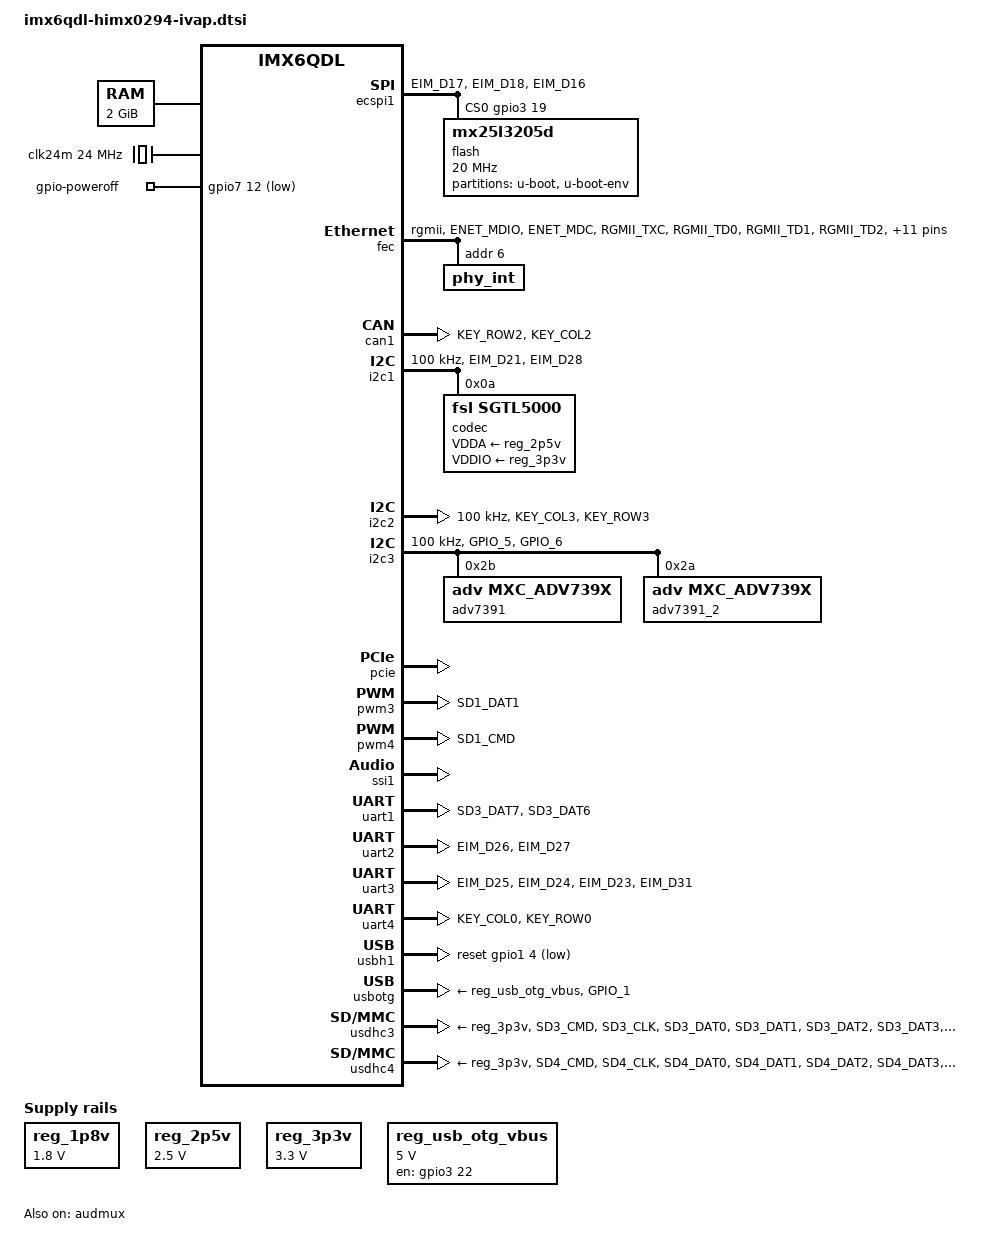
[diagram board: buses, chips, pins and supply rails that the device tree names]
/*
 * Copyright 2015 DResearch Fahrzeugelektronik GmbH
 * Copyright 2013 Boundary Devices
 * Copyright 2012 Freescale Semiconductor, Inc.
 * Copyright 2011 Linaro Ltd.
 *
 * The code contained herein is licensed under the GNU General Public
 * License. You may obtain a copy of the GNU General Public License
 * Version 2 or later at the following locations:
 *
 * http://www.opensource.org/licenses/gpl-license.html
 * http://www.gnu.org/copyleft/gpl.html
 */
#include <dt-bindings/input/input.h>
#include <dt-bindings/gpio/gpio.h>

/ {
	aliases {
		mxcfb0 = &mxcfb1;
		mxcfb1 = &mxcfb2;
		mxcfb2 = &mxcfb3;
		mxcfb3 = &mxcfb4;
		ethernet0 = &fec;
	};

	memory {
		reg = <0x10000000 0x80000000>;
	};

	reserved-memory {
		#address-cells = <1>;
		#size-cells = <1>;
		ranges;

		linux,cma {
			compatible = "shared-dma-pool";
			reusable;
			size = <0x3a000000>;
			linux,cma-default;
		};
	};

	clocks {
		clk24m: clk24m {
			compatible = "fixed-clock";
			#clock-cells = <0>;
			clock-frequency = <24000000>;
		};
	};

	regulators {
		compatible = "simple-bus";

		reg_1p8v: 1p8v {
			compatible = "regulator-fixed";
			regulator-name = "1P8V";
			regulator-min-microvolt = <1800000>;
			regulator-max-microvolt = <1800000>;
			regulator-always-on;
		};

		reg_2p5v: 2p5v {
			compatible = "regulator-fixed";
			regulator-name = "2P5V";
			regulator-min-microvolt = <2500000>;
			regulator-max-microvolt = <2500000>;
			regulator-always-on;
		};

		reg_3p3v: 3p3v {
			compatible = "regulator-fixed";
			regulator-name = "3P3V";
			regulator-min-microvolt = <3300000>;
			regulator-max-microvolt = <3300000>;
			regulator-always-on;
		};

		reg_usb_otg_vbus: usb_otg_vbus {
			compatible = "regulator-fixed";
			regulator-name = "usb_otg_vbus";
			regulator-min-microvolt = <5000000>;
			regulator-max-microvolt = <5000000>;
			gpio = <&gpio3 22 0>;
			enable-active-high;
		};
	};

	mxcfb1: fb@0 {
		compatible = "fsl,mxc_sdc_fb";
		disp_dev = "adv739x";
		interface_pix_fmt = "BT656";
		mode_str ="BT656-PAL";
		default_bpp = <32>;
		int_clk = <0>;
		late_init = <0>;
		status = "disabled";
	};

	mxcfb2: fb@1 {
		compatible = "fsl,mxc_sdc_fb";
		disp_dev = "adv739x";
		interface_pix_fmt = "BT656";
		mode_str ="BT656-PAL";
		default_bpp = <32>;
		int_clk = <0>;
		late_init = <0>;
		status = "disabled";
	};

	mxcfb3: fb@2 {
		compatible = "fsl,mxc_sdc_fb";
		disp_dev = "lcd";
		interface_pix_fmt = "RGB565";
		mode_str ="CLAA-WVGA";
		default_bpp = <16>;
		int_clk = <0>;
		late_init = <0>;
		status = "disabled";
	};

	mxcfb4: fb@3 {
		compatible = "fsl,mxc_sdc_fb";
		disp_dev = "ldb";
		interface_pix_fmt = "RGB666";
		mode_str ="LDB-XGA";
		default_bpp = <16>;
		int_clk = <0>;
		late_init = <0>;
		status = "disabled";
	};

#if 0
	backlight_lvds {
		compatible = "pwm-backlight";
		pwms = <&pwm4 0 5000000>;
		brightness-levels = <0 4 8 16 32 64 128 255>;
		default-brightness-level = <7>;
	};
#endif

	v4l2_out {
		compatible = "fsl,mxc_v4l2_output";
		status = "okay";
	};

	gpio-poweroff {
		compatible = "gpio-poweroff";
		gpios = <&gpio7 12 GPIO_ACTIVE_LOW>;
	};

	sound {
		compatible = "fsl,imx6q-sabrelite-sgtl5000",
			     "fsl,imx-audio-sgtl5000";
		model = "imx6q-sabrelite-sgtl5000";
		ssi-controller = <&ssi1>;
		audio-codec = <&codec>;
		audio-routing =
			"MIC_IN", "Mic Jack",
			"Mic Jack", "Mic Bias",
			"Headphone Jack", "HP_OUT";
		mux-int-port = <1>;
		mux-ext-port = <4>;
	};
};

&audmux {
	status = "okay";
	pinctrl-names = "default";
	pinctrl-0 = <&pinctrl_audmux>;
};

&ecspi1 {
	fsl,spi-num-chipselects = <1>;
	cs-gpios = <&gpio3 19 0>;
	pinctrl-names = "default";
	pinctrl-0 = <&pinctrl_ecspi1>;
	status = "okay";

	flash: m25p32@0 {
		compatible = "mx25l3205d";
		spi-max-frequency = <20000000>;
		reg = <0>;
		#address-cells = <1>;
		#size-cells = <1>;
		partition@0 {
			label = "u-boot";
			reg = <0x0 0x3E0000>;
		};
		partition@3E0000 {
			label = "u-boot-env";
			reg = <0x3E0000 0x20000>;
		};
	};
};

&fec {
	pinctrl-names = "default";
	pinctrl-0 = <&pinctrl_enet>;
	phy-mode = "rgmii";
	direct-switch;
#if 0
#define GP_ENET_PHY_RESET	<&gpio1 25 GPIO_ACTIVE_LOW>
	phy-reset-gpios = GP_ENET_PHY_RESET;
#endif
	status = "okay";

	#address-cells = <0>;
	#size-cells = <1>;
	phy_int {
		reg = <0x6>;
#define GPIRQ_ENET_PHY		<&gpio1 28 IRQ_TYPE_LEVEL_LOW>
		interrupts-extended = GPIRQ_ENET_PHY;
	};
};

&can1 {
	pinctrl-names = "default";
	pinctrl-0 = <&pinctrl_flexcan1>;
	status = "okay";
};

#if 0
&hdmi_audio {
	status = "okay";
};

&hdmi_core {
	ipu_id = <1>;
	disp_id = <0>;
	status = "okay";
};

&hdmi_video {
	fsl,phy_reg_vlev = <0x0294>;
	fsl,phy_reg_cksymtx = <0x800d>;
	status = "okay";
};
#endif

&i2c1 {
	clock-frequency = <100000>;
	pinctrl-names = "default";
	pinctrl-0 = <&pinctrl_i2c1>;
	status = "okay";

	codec: sgtl5000@0a {
		compatible = "fsl,sgtl5000";
		pinctrl-names = "default";
		pinctrl-0 = <&pinctrl_i2c1_sgtl5000>;
		reg = <0x0a>;
		clocks = <&clks 201>;
		VDDA-supply = <&reg_2p5v>;
		VDDIO-supply = <&reg_3p3v>;
	};
};

&i2c2 {
	clock-frequency = <100000>;
	pinctrl-names = "default";
	pinctrl-0 = <&pinctrl_i2c2>;
	status = "okay";

};

&i2c3 {
        clock-frequency = <100000>;
        pinctrl-names = "default";
        pinctrl-0 = <&pinctrl_i2c3_5>;
        status = "okay";

	adv7391: adv7391@2b {
		compatible = "adv,mxc_adv739x";
		reg = <0x2b>;
		pinctrl-names = "default", "enable";
		pinctrl-0 = <&pinctrl_adv7391_off>;
		pinctrl-1 = <&pinctrl_adv7391>;
#if 0
		rst-gpios = GP_ADV7391_RESET;
#endif
		ipu_id = <0>;
		disp_id = <1>;
        };

	adv7391_2: adv7391@2a {
		compatible = "adv,mxc_adv739x";
		reg = <0x2a>;
		pinctrl-names = "default", "enable";
		pinctrl-0 = <&pinctrl_adv7391_off_2>;
		pinctrl-1 = <&pinctrl_adv7391_2>;
#if 0
		rst-gpios = GP_ADV7391_RESET;
#endif
		ipu_id = <1>;
		disp_id = <0>;
        };
};

&iomuxc {
	pinctrl-names = "default";
	pinctrl-0 = <&pinctrl_hog_1>;

	i2c3 {
		pinctrl_i2c3_5: i2c3grp-5 {
			fsl,pins = <
				MX6QDL_PAD_GPIO_5__I2C3_SCL  0x4001b8b1
				MX6QDL_PAD_GPIO_6__I2C3_SDA  0x4001b8b1
			>;
		};
	};

	imx6q-nitrogen6x {
		pinctrl_hog_1: hoggrp-1 {
			fsl,pins = <
		/*		MX6QDL_PAD_GPIO_0__CCM_CLKO1		0x130b0	*/	/* AUD_MCK */
				MX6QDL_PAD_GPIO_2__GPIO1_IO02		0x0b868		/* LTE_ON_OFF */
				MX6QDL_PAD_GPIO_3__XTALOSC_REF_CLK_24M	0x00068		/* USB 24MHz CLK */
		/*		MX6QDL_PAD_GPIO_4__GPIO1_IO04		0x80000000 */	/* /RST_USB_HUB */
		/*		MX6QDL_PAD_GPIO_8__GPIO1_IO08		0x000b0	*/	/* BYP_SEL[0] */
		/*		MX6QDL_PAD_GPIO_9__GPIO1_IO09		0x80000000 */	/* BYP_SEL[1] */
		/*		MX6QDL_PAD_GPIO_16__GPIO7_IO11		0x80000000 */	/* BYP_SEL[2] */
		/*		MX6QDL_PAD_GPIO_17__GPIO7_IO12		0x0b0b0	*/	/* HOST_RUNNING */
                                MX6QDL_PAD_GPIO_18__GPIO7_IO13          0x1b0b0		/* ADV_BYP[0] */
                                MX6QDL_PAD_GPIO_19__GPIO4_IO05          0x1b0b0		/* ADV_BYP[1] */
				MX6QDL_PAD_EIM_D19__GPIO3_IO19		0x80000000	/* spi-nor CS */
		/*		MX6QDL_PAD_ENET_TX_EN__GPIO1_IO28	0x1b0b0	*/	/* /ETH_INT */
				MX6QDL_PAD_SD3_DAT5__GPIO7_IO00		0x80000000	/* USDHC3 CD */
				MX6QDL_PAD_SD3_DAT4__GPIO7_IO01		0x1f0b0		/* /SD3_WP*/
		/*		MX6QDL_PAD_SD4_DAT4__GPIO2_IO12		0x1b0b0	*/	/* HDD_USABLE */
		/*		MX6QDL_PAD_SD4_DAT5__GPIO2_IO13		0x1b0b0	*/	/* WLAN_ON */
				MX6QDL_PAD_NANDF_D6__GPIO2_IO06		0x80000000	/* uSDHC4 CD */
				MX6QDL_PAD_NANDF_D7__GPIO2_IO07		0x80000000	/* /SD4_WP */
			>;
		};

		pinctrl_i2c1_sgtl5000: i2c1-sgtl5000grp {
			fsl,pins = <
				MX6QDL_PAD_GPIO_0__CCM_CLKO1		0x000b0		/* sys_mclk */
			>;
		};

		pinctrl_audmux: audmuxgrp {
			fsl,pins = <
				MX6QDL_PAD_SD2_DAT0__AUD4_RXD		0x130b0
				MX6QDL_PAD_SD2_DAT3__AUD4_TXC		0x130b0
				MX6QDL_PAD_SD2_DAT2__AUD4_TXD		0x110b0
				MX6QDL_PAD_SD2_DAT1__AUD4_TXFS		0x130b0
			>;
		};

		pinctrl_ecspi1: ecspi1grp {
			fsl,pins = <
				MX6QDL_PAD_EIM_D17__ECSPI1_MISO		0x100b1
				MX6QDL_PAD_EIM_D18__ECSPI1_MOSI		0x100b1
				MX6QDL_PAD_EIM_D16__ECSPI1_SCLK		0x100b1
			>;
		};

		pinctrl_flexcan1: flexcan1grp {
			fsl,pins = <
				MX6QDL_PAD_KEY_ROW2__FLEXCAN1_RX	0x80000000
				MX6QDL_PAD_KEY_COL2__FLEXCAN1_TX	0x80000000
			>;
		};

		pinctrl_usbotg: usbotggrp {
			fsl,pins = <
				MX6QDL_PAD_GPIO_1__USB_OTG_ID 0x17059
			>;
		};

		pinctrl_enet: enetgrp {
			fsl,pins = <
				MX6QDL_PAD_ENET_MDIO__ENET_MDIO		0x1b0b0
				MX6QDL_PAD_ENET_MDC__ENET_MDC		0x1b0b0
				MX6QDL_PAD_RGMII_TXC__RGMII_TXC		0x1b0b0
				MX6QDL_PAD_RGMII_TD0__RGMII_TD0		0x1b0b0
				MX6QDL_PAD_RGMII_TD1__RGMII_TD1		0x1b0b0
				MX6QDL_PAD_RGMII_TD2__RGMII_TD2		0x1b0b0
				MX6QDL_PAD_RGMII_TD3__RGMII_TD3		0x1b0b0
				MX6QDL_PAD_RGMII_TX_CTL__RGMII_TX_CTL	0x1b0b0
				MX6QDL_PAD_ENET_REF_CLK__ENET_TX_CLK	0x1b0b0
				MX6QDL_PAD_RGMII_RXC__RGMII_RXC		0x1b0b0
				MX6QDL_PAD_RGMII_RD0__RGMII_RD0		0x1b0b0
				MX6QDL_PAD_RGMII_RD1__RGMII_RD1		0x1b0b0
				MX6QDL_PAD_RGMII_RD2__RGMII_RD2		0x1b0b0
				MX6QDL_PAD_RGMII_RD3__RGMII_RD3		0x1b0b0
				MX6QDL_PAD_RGMII_RX_CTL__RGMII_RX_CTL	0x1b0b0
				MX6QDL_PAD_ENET_CRS_DV__GPIO1_IO25	0x0f0b0		/* ethernet phy reset */
				MX6QDL_PAD_ENET_TX_EN__GPIO1_IO28	0x1b0b0		/* ethernet phy interrupt */
			>;
		};

		pinctrl_usdhc3: usdhc3grp {
			fsl,pins = <
				MX6QDL_PAD_SD3_CMD__SD3_CMD		0x17059
				MX6QDL_PAD_SD3_CLK__SD3_CLK		0x10059
				MX6QDL_PAD_SD3_DAT0__SD3_DATA0		0x17059
				MX6QDL_PAD_SD3_DAT1__SD3_DATA1		0x17059
				MX6QDL_PAD_SD3_DAT2__SD3_DATA2		0x17059
				MX6QDL_PAD_SD3_DAT3__SD3_DATA3		0x17059
			>;
		};

		pinctrl_usdhc4: usdhc4grp {
			fsl,pins = <
				MX6QDL_PAD_SD4_CMD__SD4_CMD		0x17059
				MX6QDL_PAD_SD4_CLK__SD4_CLK		0x10059
				MX6QDL_PAD_SD4_DAT0__SD4_DATA0		0x17059
				MX6QDL_PAD_SD4_DAT1__SD4_DATA1		0x17059
				MX6QDL_PAD_SD4_DAT2__SD4_DATA2		0x17059
				MX6QDL_PAD_SD4_DAT3__SD4_DATA3		0x17059
			>;
		};

		pinctrl_i2c1: i2c1grp {
			fsl,pins = <
				MX6QDL_PAD_EIM_D21__I2C1_SCL  0x4001b8b1
				MX6QDL_PAD_EIM_D28__I2C1_SDA  0x4001b8b1
			>;
		};

		pinctrl_i2c2: i2c2grp {
			fsl,pins = <
				MX6QDL_PAD_KEY_COL3__I2C2_SCL 0x4001b8b1
				MX6QDL_PAD_KEY_ROW3__I2C2_SDA 0x4001b8b1
			>;
		};

		pinctrl_adv7391: adv7391grp-1 {
			fsl,pins = <
				MX6QDL_PAD_EIM_A16__IPU1_DI1_DISP_CLK 0x10		/* Pixclk */
				MX6QDL_PAD_EIM_A17__IPU1_DISP1_DATA12  0x10
				MX6QDL_PAD_EIM_A18__IPU1_DISP1_DATA13  0x10
				MX6QDL_PAD_EIM_A19__IPU1_DISP1_DATA14  0x10
				MX6QDL_PAD_EIM_A20__IPU1_DISP1_DATA15  0x10
				MX6QDL_PAD_EIM_A21__IPU1_DISP1_DATA16  0x10
				MX6QDL_PAD_EIM_A22__IPU1_DISP1_DATA17  0x10
				MX6QDL_PAD_EIM_A23__IPU1_DISP1_DATA18  0x10
				MX6QDL_PAD_EIM_A24__IPU1_DISP1_DATA19  0x10
			>;
		};

		pinctrl_adv7391_off: adv7391grp-2 {
			fsl,pins = <
				MX6QDL_PAD_EIM_A16__GPIO2_IO22	0x0b0b0		/* Pixclk */
#if 0
MST
				MX6QDL_PAD_DI0_PIN2__GPIO4_IO18		0x0b0b0		/* HSYNC */
				MX6QDL_PAD_DI0_PIN3__GPIO4_IO19		0x0b0b0		/* VSYNC */
#endif
				MX6QDL_PAD_EIM_A17__GPIO2_IO21	0x0b0b0
				MX6QDL_PAD_EIM_A18__GPIO2_IO20	0x0b0b0
				MX6QDL_PAD_EIM_A19__GPIO2_IO19	0x0b0b0
				MX6QDL_PAD_EIM_A20__GPIO2_IO18	0x0b0b0
				MX6QDL_PAD_EIM_A21__GPIO2_IO17	0x0b0b0
				MX6QDL_PAD_EIM_A22__GPIO2_IO16	0x0b0b0
				MX6QDL_PAD_EIM_A23__GPIO6_IO06	0x0b0b0
				MX6QDL_PAD_EIM_A24__GPIO5_IO04	0x0b0b0
#if 0
#define GP_ADV7391_RESET	<&gpio4 20 GPIO_ACTIVE_LOW>
				MX6QDL_PAD_DI0_PIN4__GPIO4_IO20		0x000b0		/* reset */
#endif
			>;
		};

		pinctrl_adv7391_2: adv7391grp-3 {
		/* IPU2 pins for iMX6Q */
		};

		pinctrl_adv7391_off_2: adv7391grp-4 {
			fsl,pins = <
				MX6QDL_PAD_DI0_DISP_CLK__GPIO4_IO16	0x0b0b0		/* Pixclk */
#if 0
MST
				MX6QDL_PAD_DI0_PIN2__GPIO4_IO18		0x0b0b0		/* HSYNC */
				MX6QDL_PAD_DI0_PIN3__GPIO4_IO19		0x0b0b0		/* VSYNC */
#endif
				MX6QDL_PAD_DISP0_DAT12__GPIO5_IO06	0x0b0b0
				MX6QDL_PAD_DISP0_DAT13__GPIO5_IO07	0x0b0b0
				MX6QDL_PAD_DISP0_DAT14__GPIO5_IO08	0x0b0b0
				MX6QDL_PAD_DISP0_DAT15__GPIO5_IO09	0x0b0b0
				MX6QDL_PAD_DISP0_DAT16__GPIO5_IO10	0x0b0b0
				MX6QDL_PAD_DISP0_DAT17__GPIO5_IO11	0x0b0b0
				MX6QDL_PAD_DISP0_DAT18__GPIO5_IO12	0x0b0b0
				MX6QDL_PAD_DISP0_DAT19__GPIO5_IO13	0x0b0b0
#if 0
#define GP_ADV7391_RESET	<&gpio4 20 GPIO_ACTIVE_LOW>
				MX6QDL_PAD_DI0_PIN4__GPIO4_IO20		0x000b0		/* reset */
#endif
			>;
		};
	};

	pwm3 {
		pinctrl_pwm3_2: pwm3grp-2 {
			fsl,pins = <
				MX6QDL_PAD_SD1_DAT1__PWM3_OUT 0x1b0b1
			>;
		};
	};

	pwm4 {
		pinctrl_pwm4_2: pwm4grp-2 {
			fsl,pins = <
				MX6QDL_PAD_SD1_CMD__PWM4_OUT 0x1b0b1
			>;
		};
	};

	uart1 {
		pinctrl_uart1_2: uart1grp-2 {
			fsl,pins = <
				MX6QDL_PAD_SD3_DAT7__UART1_TX_DATA 0x1b0b1
				MX6QDL_PAD_SD3_DAT6__UART1_RX_DATA 0x1b0b1
			>;
		};
	};


	uart2 {
		pinctrl_uart2_1: uart2grp-1 {
			fsl,pins = <
				MX6QDL_PAD_EIM_D26__UART2_TX_DATA 0x1b0b1
				MX6QDL_PAD_EIM_D27__UART2_RX_DATA 0x1b0b1
			>;
		};
	};
	uart3 {
		pinctrl_uart3_2: uart3grp-2 {
			fsl,pins = <
				MX6QDL_PAD_EIM_D25__UART3_RX_DATA 0x1b0b1
				MX6QDL_PAD_EIM_D24__UART3_TX_DATA 0x1b0b1
				MX6QDL_PAD_EIM_D23__UART3_CTS_B   0x1b0b1
				MX6QDL_PAD_EIM_D31__UART3_RTS_B   0x1b0b1
			>;
		};
	};
	uart4 {
		pinctrl_uart4: uart4grp {
			fsl,pins = <
				MX6QDL_PAD_KEY_COL0__UART4_TX_DATA	0x1b0b1
				MX6QDL_PAD_KEY_ROW0__UART4_RX_DATA	0x1b0b1
			>;
		};
	};
};

#if 0
&ldb {
	ext_ref = <1>;
	status = "okay";

	lvds-channel@0 {
		crtc = "ipu1-di1";
		fsl,data-mapping = "spwg";
		fsl,data-width = <24>;
		primary;
		status = "okay";

		display-timings {
			native-mode = <&timing0>;
			timing0: 1280p60 {
				clock-frequency = <79503000>;
				hactive = <1280>;
				vactive = <768>;
				hback-porch = <192>;
				hfront-porch = <64>;
				vback-porch = <3>;
				vfront-porch = <20>;
				hsync-len = <128>;
				vsync-len = <7>;
			};
		};
	};
};

&mlb {
	clocks = <&clks IMX6QDL_CLK_MLB>,
		 <&clks IMX6QDL_CLK_PLL8_MLB>;
	clock-names = "mlb", "pll8_mlb";
	pinctrl-names = "default";
#if 0
	pinctrl-0 = <&pinctrl_mlb_2>;
#endif
	status = "okay";
};
#endif

&pcie {
	status = "okay";
};

#if 0
&pwm1 {
	pinctrl-names = "default";
	pinctrl-0 = <&pinctrl_pwm1_1>;
	status = "okay";
};
#endif

&pwm3 {
	pinctrl-names = "default";
	pinctrl-0 = <&pinctrl_pwm3_2>;
	status = "okay";
};

&pwm4 {
	pinctrl-names = "default";
	pinctrl-0 = <&pinctrl_pwm4_2>;
	status = "okay";
};

&ssi1 {
	fsl,mode = "i2s-slave";
	status = "okay";
};

&uart1 {
	dma-names = "", "tx";
	pinctrl-names = "default";
	pinctrl-0 = <&pinctrl_uart1_2>;
	status = "okay";
};

&uart2 {
	pinctrl-names = "default";
	pinctrl-0 = <&pinctrl_uart2_1>;
	status = "okay";
};

&uart3 {
	pinctrl-names = "default";
	pinctrl-0 = <&pinctrl_uart3_2>;
	fsl,uart-has-rtscts;
	status = "okay";
};

&uart4 {
	pinctrl-names = "default";
	pinctrl-0 = <&pinctrl_uart4>;
	status = "okay";
};

&usbh1 {
	reset-gpios = <&gpio1 4 GPIO_ACTIVE_LOW>;
	status = "okay";
};

&usbotg {
	vbus-supply = <&reg_usb_otg_vbus>;
	pinctrl-names = "default";
	pinctrl-0 = <&pinctrl_usbotg>;
	disable-over-current;
	status = "okay";
};

&usdhc3 {
	pinctrl-names = "default";
	pinctrl-0 = <&pinctrl_usdhc3>;
	cd-gpios = <&gpio7 0 0>;
	cd-inverted;
	vmmc-supply = <&reg_3p3v>;
	status = "okay";
};

&usdhc4 {
	pinctrl-names = "default";
	pinctrl-0 = <&pinctrl_usdhc4>;
	cd-gpios = <&gpio2 6 0>;
	cd-inverted;
	vmmc-supply = <&reg_3p3v>;
	status = "okay";
};
